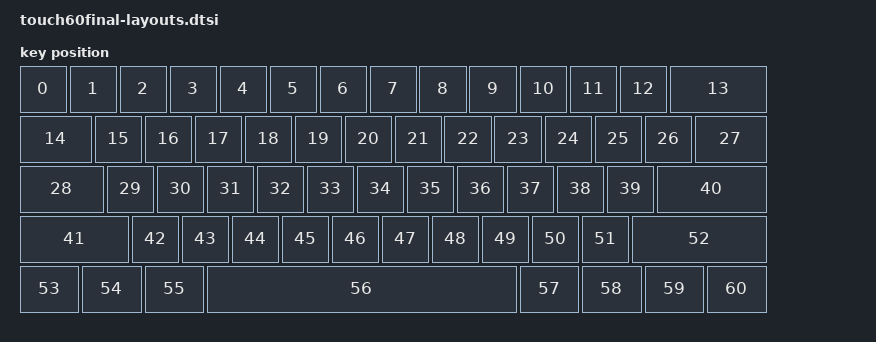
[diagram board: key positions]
#include <physical_layouts.dtsi>

/ {
    physical_layout_touch60final: physical_layout_touch60final {
        compatible = "zmk,physical-layout";
        display-name = "Touch60final";
        keys  //                     w   h    x    y     rot    rx    ry
            = <&key_physical_attrs 100 100    0    0       0     0     0>
            , <&key_physical_attrs 100 100  100    0       0   100     0>
            , <&key_physical_attrs 100 100  200    0       0   200     0>
            , <&key_physical_attrs 100 100  300    0       0   300     0>
            , <&key_physical_attrs 100 100  400    0       0   400     0>
            , <&key_physical_attrs 100 100  500    0       0   500     0>
            , <&key_physical_attrs 100 100  600    0       0   600     0>
            , <&key_physical_attrs 100 100  700    0       0   700     0>
            , <&key_physical_attrs 100 100  800    0       0   800     0>
            , <&key_physical_attrs 100 100  900    0       0   900     0>
            , <&key_physical_attrs 100 100 1000    0       0  1000     0>
            , <&key_physical_attrs 100 100 1100    0       0  1100     0>
            , <&key_physical_attrs 100 100 1200    0       0  1200     0>
            , <&key_physical_attrs 200 100 1300    0       0  1300     0>
            , <&key_physical_attrs 150 100    0  100       0     0   100>
            , <&key_physical_attrs 100 100  150  100       0   150   100>
            , <&key_physical_attrs 100 100  250  100       0   250   100>
            , <&key_physical_attrs 100 100  350  100       0   350   100>
            , <&key_physical_attrs 100 100  450  100       0   450   100>
            , <&key_physical_attrs 100 100  550  100       0   550   100>
            , <&key_physical_attrs 100 100  650  100       0   650   100>
            , <&key_physical_attrs 100 100  750  100       0   750   100>
            , <&key_physical_attrs 100 100  850  100       0   850   100>
            , <&key_physical_attrs 100 100  950  100       0   950   100>
            , <&key_physical_attrs 100 100 1050  100       0  1050   100>
            , <&key_physical_attrs 100 100 1150  100       0  1150   100>
            , <&key_physical_attrs 100 100 1250  100       0  1250   100>
            , <&key_physical_attrs 150 100 1350  100       0  1350   100>
            , <&key_physical_attrs 175 100    0  200       0     0   200>
            , <&key_physical_attrs 100 100  175  200       0   175   200>
            , <&key_physical_attrs 100 100  275  200       0   275   200>
            , <&key_physical_attrs 100 100  375  200       0   375   200>
            , <&key_physical_attrs 100 100  475  200       0   475   200>
            , <&key_physical_attrs 100 100  575  200       0   575   200>
            , <&key_physical_attrs 100 100  675  200       0   675   200>
            , <&key_physical_attrs 100 100  775  200       0   775   200>
            , <&key_physical_attrs 100 100  875  200       0   875   200>
            , <&key_physical_attrs 100 100  975  200       0   975   200>
            , <&key_physical_attrs 100 100 1075  200       0  1075   200>
            , <&key_physical_attrs 100 100 1175  200       0  1175   200>
            , <&key_physical_attrs 225 100 1275  200       0  1275   200>
            , <&key_physical_attrs 225 100    0  300       0     0   300>
            , <&key_physical_attrs 100 100  225  300       0   225   300>
            , <&key_physical_attrs 100 100  325  300       0   325   300>
            , <&key_physical_attrs 100 100  425  300       0   425   300>
            , <&key_physical_attrs 100 100  525  300       0   525   300>
            , <&key_physical_attrs 100 100  625  300       0   625   300>
            , <&key_physical_attrs 100 100  725  300       0   725   300>
            , <&key_physical_attrs 100 100  825  300       0   825   300>
            , <&key_physical_attrs 100 100  925  300       0   925   300>
            , <&key_physical_attrs 100 100 1025  300       0  1025   300>
            , <&key_physical_attrs 100 100 1125  300       0  1125   300>
            , <&key_physical_attrs 275 100 1225  300       0  1225   300>
            , <&key_physical_attrs 125 100    0  400       0     0   400>
            , <&key_physical_attrs 125 100  125  400       0   125   400>
            , <&key_physical_attrs 125 100  250  400       0   250   400>
            , <&key_physical_attrs 625 100  375  400       0   375   400>
            , <&key_physical_attrs 125 100 1000  400       0  1000   400>
            , <&key_physical_attrs 125 100 1125  400       0  1125   400>
            , <&key_physical_attrs 125 100 1250  400       0  1250   400>
            , <&key_physical_attrs 125 100 1375  400       0  1375   400>
            ;
    };
};
